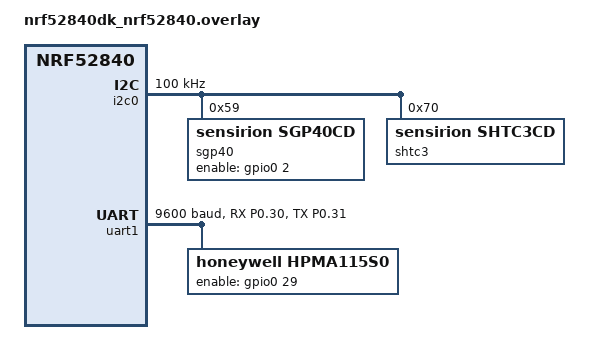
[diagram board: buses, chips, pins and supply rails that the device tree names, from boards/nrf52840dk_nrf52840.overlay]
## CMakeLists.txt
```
#
# Copyright (c) 2021 Circuit Dojo LLC
#

cmake_minimum_required(VERSION 3.13.4)

# Determine the build type
if (NOT BUILD_TYPE)
  set(BUILD_TYPE debug)
endif()

# Print out build type
message(STATUS "Build type: ${BUILD_TYPE} 🚀")

# Set environment variables
# set(ZEPHYR_TOOLCHAIN_VARIANT gnuarmemb)
# set(GNUARMEMB_TOOLCHAIN_PATH "C:\\Program Files (x86)\\GNU Tools Arm Embedded\\9 2019-q4-major")
# set(GNUARMEMB_TOOLCHAIN_PATH /Users/jaredwolff/gcc-arm-none-eabi-9-2019-q4-major)

# Overlays
list(INSERT OVERLAY_CONFIG 0 config/ble.conf)

find_package(Zephyr REQUIRED HINTS $ENV{ZEPHYR_BASE})

project(air-quality-wing-ble-demo)

# Application directories
add_subdirectory(src/ble)

target_sources(app PRIVATE src/main.c)
```

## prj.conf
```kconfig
# Heap and stacks
CONFIG_INIT_STACKS=y
CONFIG_MAIN_STACK_SIZE=2048

# GPIO
CONFIG_GPIO=y

# Logging
CONFIG_LOG=y
CONFIG_CONSOLE=y

# Sensors
CONFIG_I2C=y
CONFIG_SENSOR=y
CONFIG_SHTC3=y
CONFIG_SGP40_CD=y
CONFIG_SERIAL=y
CONFIG_UART_ASYNC_API=y
CONFIG_HPMA115S0=y

# AWQ Library
CONFIG_AQW=y

# Enable MCUboot bootloader
CONFIG_BOOTLOADER_MCUBOOT=y

# Newlibc
CONFIG_NEWLIB_LIBC=y 

# Settings 
CONFIG_SETTINGS=y

# CONFIG_SENSOR_LOG_LEVEL_DBG=y
# CONFIG_AQW_LOG_LEVEL_DBG=y
```

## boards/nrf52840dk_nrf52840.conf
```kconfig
# Logging
CONFIG_UART_CONSOLE=y
CONFIG_LOG_BACKEND_UART=y
```

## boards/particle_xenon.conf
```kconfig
# Segger RTT
CONFIG_USE_SEGGER_RTT=y
CONFIG_RTT_CONSOLE=y
CONFIG_UART_CONSOLE=n
CONFIG_LOG_BACKEND_RTT=y
CONFIG_LOG_BACKEND_UART=n

# CONFIG_USB=y
# CONFIG_USB_DEVICE_STACK=y
# CONFIG_USB_DEVICE_PRODUCT="Zephyr USB Console"
# CONFIG_USB_UART_CONSOLE=y
# CONFIG_USB_CDC_ACM_LOG_LEVEL_WRN=y

# CONFIG_UART_INTERRUPT_DRIVEN=y
# CONFIG_UART_LINE_CTRL=y
# CONFIG_UART_CONSOLE_ON_DEV_NAME="CDC_ACM_0"

# CONFIG_LOG_BACKEND_UART=n

# CONFIG_USB_CDC_ACM=y
# CONFIG_USB_DRIVER_LOG_LEVEL_ERR=y
# CONFIG_USB_DEVICE_LOG_LEVEL_ERR=y
```

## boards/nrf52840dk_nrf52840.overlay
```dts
/*
 * Copyright (c) 2021 Circuit Dojo LLC
 */

&i2c0 {
    compatible = "nordic,nrf-twim";
    status = "okay";
    clock-frequency = <I2C_BITRATE_STANDARD>;

    sgp40@59 {
        compatible = "sensirion,sgp40cd";
        reg = <0x59>;
        enable-gpios = <&gpio0 2 GPIO_ACTIVE_HIGH>;
    };

    shtc3@70 {
        compatible = "sensirion,shtc3cd";
        reg = <0x70>;
    };
};

&pinctrl {
    uart1_default_alt: uart1_default_alt {
        group1 {
            psels = <NRF_PSEL(UART_RX, 0, 30)>;
            bias-pull-up;
        };
        group2 {
            psels = <NRF_PSEL(UART_TX, 0, 31)>;
        };
    };

    uart1_sleep_alt: uart1_sleep_alt {
        group1 {
            psels = <NRF_PSEL(UART_RX, 0, 30)>,
                <NRF_PSEL(UART_TX, 0, 31)>;
            low-power-enable;
        };
    };
};

&uart1 {
    status = "okay";
    compatible = "nordic,nrf-uarte";
    current-speed = <9600>;
    pinctrl-0 = <&uart1_default_alt>;
	pinctrl-1 = <&uart1_sleep_alt>;
	pinctrl-names = "default", "sleep";

    hpma115s0 {
        compatible = "honeywell,hpma115s0";
        enable-gpios = <&gpio0 29 GPIO_ACTIVE_HIGH>;
    };
};
```

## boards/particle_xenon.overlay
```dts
/*
 * Copyright (c) 2021 Circuit Dojo LLC
 */

&i2c0 {
    compatible = "nordic,nrf-twim";
    status = "okay";
    clock-frequency = <I2C_BITRATE_STANDARD>;

    sgp40@59 {
        compatible = "sensirion,sgp40cd";
        reg = <0x59>;
        enable-gpios = <&gpio1 8 GPIO_ACTIVE_HIGH>;
    };

    shtc3@70 {
        compatible = "sensirion,shtc3cd";
        reg = <0x70>;
    };
};

&uart0 {
    compatible = "nordic,nrf-uarte";
    current-speed = <9600>;

    hpma115s0 {
        compatible = "honeywell,hpma115s0";
        enable-gpios = <&gpio1 10 GPIO_ACTIVE_HIGH>;
    };
};
```

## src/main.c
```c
/**
 * @author Jared Wolff (hello@jaredwolff.com)
 * @copyright Copyright Circuit Dojo LLC 2021
 */

#include <zephyr/kernel.h>
#include <zephyr/device.h>
#include <zephyr/drivers/sensor.h>
#include <zephyr/devicetree.h>

#include <zephyr/logging/log.h>
LOG_MODULE_REGISTER(aqw_ble_demo);

#include <aqw.h>
#include <app_ble.h>

/* Inverval in seconds */
#define STANDARD_SENSOR_INTERVAL 60

static struct aqw_sensor temperature_sensor =
    {
        .type = AQW_TEMPERATURE_SENSOR,
        .chan = SENSOR_CHAN_AMBIENT_TEMP,
        .dev = DEVICE_DT_GET_ONE(sensirion_shtc3cd),
        .interval = STANDARD_SENSOR_INTERVAL,
};

static struct aqw_sensor humidity_sensor =
    {
        .type = AQW_HUMIDITY_SENSOR,
        .chan = SENSOR_CHAN_HUMIDITY,
        .dev = DEVICE_DT_GET_ONE(sensirion_shtc3cd),
        .interval = STANDARD_SENSOR_INTERVAL,
};

static struct aqw_sensor voc_sensor =
    {
        .type = AQW_VOC_SENSOR,
        .chan = SENSOR_CHAN_VOC,
        .dev = DEVICE_DT_GET_ONE(sensirion_sgp40cd),
        .interval = STANDARD_SENSOR_INTERVAL,
};

static struct aqw_sensor hpma_sensor =
    {
        .type = AQW_PM25_SENSOR,
        .chan = SENSOR_CHAN_PM_2_5,
        .dev = DEVICE_DT_GET_ONE(honeywell_hpma115s0),
        .interval = STANDARD_SENSOR_INTERVAL,
};

static struct aqw_sensor *sensors[] = {
    &temperature_sensor,
    &humidity_sensor,
    &voc_sensor,
    &hpma_sensor,
};

void sensor_cb(struct aqw_sensor_data *data, size_t len)
{
    for (int i = 0; i < len; i++)
    {

        /* Skip if not valid */
        if (data[i].type == AQW_INVALID_SENSOR)
            continue;

        LOG_INF("%s: %i.%i%s", aqw_sensor_type_to_string(data[i].type), data[i].val.val1, data[i].val.val2, aqw_sensor_unit_to_string(data[i].type));

        /* Data */
        struct app_ble_payload payload = {
            .value = data[i].val,
            .ts = k_uptime_ticks(),
            .type = data[i].type,
        };

        /* Attempt to publish no matter what */
        app_ble_publish_sensor_data(&payload);

        /* TODO: storing previous values to storage? */
    }
}

void main(void)
{
    int err = 0;

    LOG_INF("Air Quality Wing Demo");

    /* Setup BLE */
    err = app_ble_init();
    if (err)
        __ASSERT_MSG_INFO("Unable to init bluetooth library. Err: %i", err);

    /* Init Air Quality Wing */
    err = aqw_init(sensors, ARRAY_SIZE(sensors), sensor_cb);
    if (err)
        __ASSERT_MSG_INFO("Unable to init Air Quality Wing library. Err: %i", err);

    err = aqw_sensor_start_fetch();
    if (err)
        __ASSERT_MSG_INFO("Unable to start fetch. Err: %i", err);
}
```
